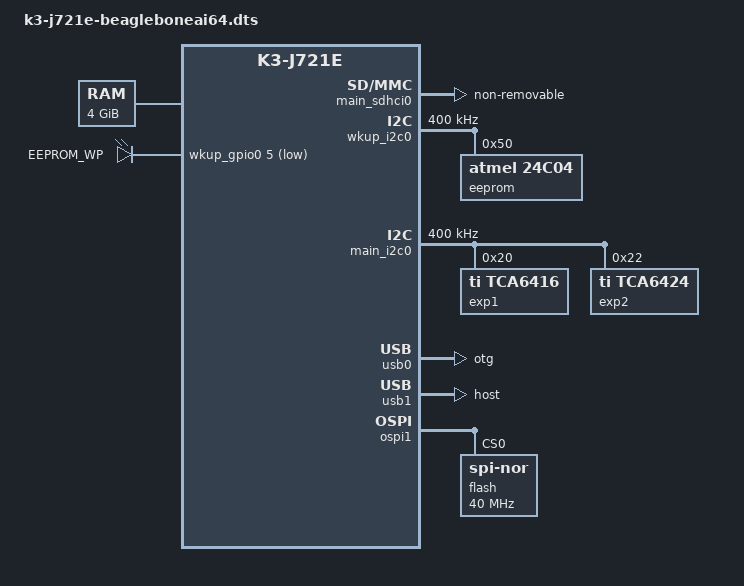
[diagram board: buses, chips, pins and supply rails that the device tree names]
// SPDX-License-Identifier: GPL-2.0
/*
 * Copyright (C) 2019 Texas Instruments Incorporated - https://www.ti.com/
 */

/dts-v1/;

#include "k3-j721e-som-p0.dtsi"
#include <dt-bindings/gpio/gpio.h>

/ {
	aliases {
		remoteproc0 = &sysctrler;
		remoteproc1 = &a72_0;
	};

	chosen {
		stdout-path = "serial2:115200n8";
		bootargs = "console=ttyS2,115200n8 earlycon=ns16550a,mmio32,0x02800000";
	};

	memory@80000000 {
		device_type = "memory";
		/* 4G RAM */
		reg = <0x00000000 0x80000000 0x00000000 0x80000000>,
		      <0x00000008 0x80000000 0x00000000 0x80000000>;
	};

	reserved_memory: reserved-memory {
		#address-cells = <2>;
		#size-cells = <2>;
		ranges;

		secure_ddr: optee@9e800000 {
			reg = <0x00 0x9e800000 0x00 0x01800000>;
			alignment = <0x1000>;
			no-map;
		};

		mcu_r5fss0_core0_dma_memory_region: r5f-dma-memory@a0000000 {
			compatible = "shared-dma-pool";
			reg = <0x00 0xa0000000 0x00 0x100000>;
			no-map;
		};

		mcu_r5fss0_core0_memory_region: r5f-memory@a0100000 {
			compatible = "shared-dma-pool";
			reg = <0x00 0xa0100000 0x00 0xf00000>;
			no-map;
		};

		mcu_r5fss0_core1_dma_memory_region: r5f-dma-memory@a1000000 {
			compatible = "shared-dma-pool";
			reg = <0x00 0xa1000000 0x00 0x100000>;
			no-map;
		};

		mcu_r5fss0_core1_memory_region: r5f-memory@a1100000 {
			compatible = "shared-dma-pool";
			reg = <0x00 0xa1100000 0x00 0xf00000>;
			no-map;
		};

		main_r5fss0_core0_dma_memory_region: r5f-dma-memory@a2000000 {
			compatible = "shared-dma-pool";
			reg = <0x00 0xa2000000 0x00 0x100000>;
			no-map;
		};

		main_r5fss0_core0_memory_region: r5f-memory@a2100000 {
			compatible = "shared-dma-pool";
			reg = <0x00 0xa2100000 0x00 0xf00000>;
			no-map;
		};

		main_r5fss0_core1_dma_memory_region: r5f-dma-memory@a3000000 {
			compatible = "shared-dma-pool";
			reg = <0x00 0xa3000000 0x00 0x100000>;
			no-map;
		};

		main_r5fss0_core1_memory_region: r5f-memory@a3100000 {
			compatible = "shared-dma-pool";
			reg = <0x00 0xa3100000 0x00 0xf00000>;
			no-map;
		};

		main_r5fss1_core0_dma_memory_region: r5f-dma-memory@a4000000 {
			compatible = "shared-dma-pool";
			reg = <0x00 0xa4000000 0x00 0x100000>;
			no-map;
		};

		main_r5fss1_core0_memory_region: r5f-memory@a4100000 {
			compatible = "shared-dma-pool";
			reg = <0x00 0xa4100000 0x00 0xf00000>;
			no-map;
		};

		main_r5fss1_core1_dma_memory_region: r5f-dma-memory@a5000000 {
			compatible = "shared-dma-pool";
			reg = <0x00 0xa5000000 0x00 0x100000>;
			no-map;
		};

		main_r5fss1_core1_memory_region: r5f-memory@a5100000 {
			compatible = "shared-dma-pool";
			reg = <0x00 0xa5100000 0x00 0xf00000>;
			no-map;
		};

		c66_1_dma_memory_region: c66-dma-memory@a6000000 {
			compatible = "shared-dma-pool";
			reg = <0x00 0xa6000000 0x00 0x100000>;
			no-map;
		};

		c66_0_memory_region: c66-memory@a6100000 {
			compatible = "shared-dma-pool";
			reg = <0x00 0xa6100000 0x00 0xf00000>;
			no-map;
		};

		c66_0_dma_memory_region: c66-dma-memory@a7000000 {
			compatible = "shared-dma-pool";
			reg = <0x00 0xa7000000 0x00 0x100000>;
			no-map;
		};

		c66_1_memory_region: c66-memory@a7100000 {
			compatible = "shared-dma-pool";
			reg = <0x00 0xa7100000 0x00 0xf00000>;
			no-map;
		};

		c71_0_dma_memory_region: c71-dma-memory@a8000000 {
			compatible = "shared-dma-pool";
			reg = <0x00 0xa8000000 0x00 0x100000>;
			no-map;
		};

		c71_0_memory_region: c71-memory@a8100000 {
			compatible = "shared-dma-pool";
			reg = <0x00 0xa8100000 0x00 0xf00000>;
			no-map;
		};

		rtos_ipc_memory_region: ipc-memories@aa000000 {
			reg = <0x00 0xaa000000 0x00 0x01c00000>;
			alignment = <0x1000>;
			no-map;
		};
	};

	a72_0: a72@0 {
		compatible = "ti,am654-rproc";
		reg = <0x0 0x00a90000 0x0 0x10>;
		power-domains = <&k3_pds 61 TI_SCI_PD_EXCLUSIVE>,
				<&k3_pds 202 TI_SCI_PD_EXCLUSIVE>;
		resets = <&k3_reset 202 0>;
		clocks = <&k3_clks 61 1>;
		assigned-clocks = <&k3_clks 202 2>, <&k3_clks 61 1>;
		assigned-clock-rates = <2000000000>, <200000000>;
		ti,sci = <&dmsc>;
		ti,sci-proc-id = <32>;
		ti,sci-host-id = <10>;
		u-boot,dm-spl;
	};

	leds {
		pinctrl-names = "default";
		pinctrl-0 = <&eeprom_wp_pins_default>;

		compatible = "gpio-leds";

		wp0 {
			label = "EEPROM_WP";
			gpios = <&wkup_gpio0 5 GPIO_ACTIVE_LOW>;
			default-state = "off";
			status = "okay";
		};
	};
};

&cbass_mcu_wakeup {
	mcu_secproxy: secproxy@28380000 {
		u-boot,dm-spl;
		compatible = "ti,am654-secure-proxy";
		reg = <0x0 0x2a380000 0x0 0x80000>,
		      <0x0 0x2a400000 0x0 0x80000>,
		      <0x0 0x2a480000 0x0 0x80000>;
		reg-names = "rt", "scfg", "target_data";
		#mbox-cells = <1>;
	};

	sysctrler: sysctrler {
		u-boot,dm-spl;
		compatible = "ti,am654-system-controller";
		mboxes= <&mcu_secproxy 4>, <&mcu_secproxy 5>;
		mbox-names = "tx", "rx";
	};

	dm_tifs: dm-tifs {
		compatible = "ti,j721e-dm-sci";
		ti,host-id = <3>;
		ti,secure-host;
		mbox-names = "rx", "tx";
		mboxes= <&mcu_secproxy 21>,
			<&mcu_secproxy 23>;
		u-boot,dm-spl;
	};
};

&cbass_main {
	main_esm: esm@700000 {
		compatible = "ti,j721e-esm";
		reg = <0x0 0x700000 0x0 0x1000>;
		ti,esm-pins = <344>, <345>;
		u-boot,dm-spl;
	};
};

&dmsc {
	mboxes= <&mcu_secproxy 8>, <&mcu_secproxy 6>, <&mcu_secproxy 5>;
	mbox-names = "tx", "rx", "notify";
	ti,host-id = <4>;
	ti,secure-host;
};

&main_pmx0 {
	main_mmc1_pins_default: main_mmc1_pins_default {
		pinctrl-single,pins = <
			J721E_IOPAD(0x254, PIN_INPUT, 0) /* (R29) MMC1_CMD */
			J721E_IOPAD(0x250, PIN_INPUT, 0) /* (P25) MMC1_CLK */
			J721E_IOPAD(0x2ac, PIN_INPUT, 0) /* (P25) MMC1_CLKLB */
			J721E_IOPAD(0x24c, PIN_INPUT, 0) /* (R24) MMC1_DAT0 */
			J721E_IOPAD(0x248, PIN_INPUT, 0) /* (P24) MMC1_DAT1 */
			J721E_IOPAD(0x244, PIN_INPUT, 0) /* (R25) MMC1_DAT2 */
			J721E_IOPAD(0x240, PIN_INPUT, 0) /* (R26) MMC1_DAT3 */
			J721E_IOPAD(0x258, PIN_INPUT, 0) /* (P23) MMC1_SDCD */
			J721E_IOPAD(0x25c, PIN_INPUT, 0) /* (R28) MMC1_SDWP */
		>;
	};
};

&main_pmx0 {
	main_usbss0_pins_default: main_usbss0_pins_default {
		pinctrl-single,pins = <
			J721E_IOPAD(0x290, PIN_OUTPUT, 0) /* (U6) USB0_DRVVBUS */
			J721E_IOPAD(0x210, PIN_INPUT, 7) /* (W3) MCAN1_RX.GPIO1_3 */
		>;
	};

	main_usbss1_pins_default: main_usbss1_pins_default {
		pinctrl-single,pins = <
			J721E_IOPAD(0x214, PIN_OUTPUT, 4) /* (V4) MCAN1_TX.USB1_DRVVBUS */
		>;
	};

	main_i2c0_pins_default: main-i2c0-pins-default {
		pinctrl-single,pins = <
			J721E_IOPAD(0x220, PIN_INPUT_PULLUP, 0) /* (AC5) I2C0_SCL */
			J721E_IOPAD(0x224, PIN_INPUT_PULLUP, 0) /* (AA5) I2C0_SDA */
		>;
	};
};

&wkup_pmx0 {
	wkup_i2c0_pins_default: wkup-i2c0-pins-default {
		pinctrl-single,pins = <
			J721E_WKUP_IOPAD(0xf8, PIN_INPUT_PULLUP, 0) /* (J25) WKUP_I2C0_SCL */
			J721E_WKUP_IOPAD(0xfc, PIN_INPUT_PULLUP, 0) /* (H24) WKUP_I2C0_SDA */
		>;
	};

	eeprom_wp_pins_default: eeprom-wp-pins-default {
		pinctrl-single,pins = <
			J721E_WKUP_IOPAD(0xc4, PIN_OUTPUT_PULLUP, 7) /* (G24) WKUP_GPIO0_5 */
		>;
	};

	mcu_fss0_ospi1_pins_default: mcu-fss0-ospi1-pins-default {
		pinctrl-single,pins = <
			J721E_WKUP_IOPAD(0x34, PIN_OUTPUT, 0) /* (F22) MCU_OSPI1_CLK */
			J721E_WKUP_IOPAD(0x50, PIN_OUTPUT, 0) /* (C22) MCU_OSPI1_CSn0 */
			J721E_WKUP_IOPAD(0x40, PIN_INPUT, 0) /* (D22) MCU_OSPI1_D0 */
			J721E_WKUP_IOPAD(0x44, PIN_INPUT, 0) /* (G22) MCU_OSPI1_D1 */
			J721E_WKUP_IOPAD(0x48, PIN_INPUT, 0) /* (D23) MCU_OSPI1_D2 */
			J721E_WKUP_IOPAD(0x4c, PIN_INPUT, 0) /* (C23) MCU_OSPI1_D3 */
			J721E_WKUP_IOPAD(0x3c, PIN_INPUT, 0) /* (B23) MCU_OSPI1_DQS */
			J721E_WKUP_IOPAD(0x38, PIN_INPUT, 0) /* (A23) MCU_OSPI1_LBCLKO */
		>;
	};
};

&wkup_uart0 {
	/* Wakeup UART is used by System firmware */
	status = "reserved";
};

&main_uart0 {
	power-domains = <&k3_pds 146 TI_SCI_PD_SHARED>;
};

&main_uart3 {
	/* UART not brought out */
	status = "disabled";
};

&main_uart5 {
	/* UART not brought out */
	status = "disabled";
};

&main_uart6 {
	/* UART not brought out */
	status = "disabled";
};

&main_uart7 {
	/* UART not brought out */
	status = "disabled";
};

&main_uart8 {
	/* UART not brought out */
	status = "disabled";
};

&main_uart9 {
	/* UART not brought out */
	status = "disabled";
};

&main_sdhci0 {
	/* eMMC */
	non-removable;
	ti,driver-strength-ohm = <50>;
};

&main_sdhci1 {
	/* SD card */
	pinctrl-names = "default";
	pinctrl-0 = <&main_mmc1_pins_default>;
	ti,driver-strength-ohm = <50>;
};

&wkup_i2c0 {
	pinctrl-names = "default";
	pinctrl-0 = <&wkup_i2c0_pins_default>;
	clock-frequency = <400000>;

	eeprom@50 {
		compatible = "atmel,24c04";
		reg = <0x50>;
	};
};

&main_i2c0 {
	pinctrl-names = "default";
	pinctrl-0 = <&main_i2c0_pins_default>;
	clock-frequency = <400000>;

	exp1: gpio@20 {
		compatible = "ti,tca6416";
		reg = <0x20>;
		gpio-controller;
		#gpio-cells = <2>;
	};

	exp2: gpio@22 {
		compatible = "ti,tca6424";
		reg = <0x22>;
		gpio-controller;
		#gpio-cells = <2>;
	};
};

&usbss0 {
	pinctrl-names = "default";
	pinctrl-0 = <&main_usbss0_pins_default>;
	ti,vbus-divider;
};

&usb0 {
	dr_mode = "otg";
	maximum-speed = "super-speed";
};

&usbss1 {
	pinctrl-names = "default";
	pinctrl-0 = <&main_usbss1_pins_default>;
	ti,usb2-only;
};

&usb1 {
	dr_mode = "host";
	maximum-speed = "high-speed";
};

&ospi1 {
	pinctrl-names = "default";
	pinctrl-0 = <&mcu_fss0_ospi1_pins_default>;

	flash@0{
		compatible = "jedec,spi-nor";
		reg = <0x0>;
		spi-tx-bus-width = <1>;
		spi-rx-bus-width = <4>;
		spi-max-frequency = <40000000>;
		cdns,tshsl-ns = <60>;
		cdns,tsd2d-ns = <60>;
		cdns,tchsh-ns = <60>;
		cdns,tslch-ns = <60>;
		cdns,read-delay = <2>;
		#address-cells = <1>;
		#size-cells = <1>;
	};
};

&mcu_ringacc {
	ti,sci = <&dm_tifs>;
};

&mcu_udmap {
	ti,sci = <&dm_tifs>;
};

&mailbox0_cluster0 {
	interrupts = <436>;

	mbox_mcu_r5fss0_core0: mbox-mcu-r5fss0-core0 {
		ti,mbox-rx = <0 0 0>;
		ti,mbox-tx = <1 0 0>;
	};

	mbox_mcu_r5fss0_core1: mbox-mcu-r5fss0-core1 {
		ti,mbox-rx = <2 0 0>;
		ti,mbox-tx = <3 0 0>;
	};
};

&mailbox0_cluster1 {
	interrupts = <432>;

	mbox_main_r5fss0_core0: mbox-main-r5fss0-core0 {
		ti,mbox-rx = <0 0 0>;
		ti,mbox-tx = <1 0 0>;
	};

	mbox_main_r5fss0_core1: mbox-main-r5fss0-core1 {
		ti,mbox-rx = <2 0 0>;
		ti,mbox-tx = <3 0 0>;
	};
};

&mailbox0_cluster2 {
	interrupts = <428>;

	mbox_main_r5fss1_core0: mbox-main-r5fss1-core0 {
		ti,mbox-rx = <0 0 0>;
		ti,mbox-tx = <1 0 0>;
	};

	mbox_main_r5fss1_core1: mbox-main-r5fss1-core1 {
		ti,mbox-rx = <2 0 0>;
		ti,mbox-tx = <3 0 0>;
	};
};

&mailbox0_cluster3 {
	interrupts = <424>;

	mbox_c66_0: mbox-c66-0 {
		ti,mbox-rx = <0 0 0>;
		ti,mbox-tx = <1 0 0>;
	};

	mbox_c66_1: mbox-c66-1 {
		ti,mbox-rx = <2 0 0>;
		ti,mbox-tx = <3 0 0>;
	};
};

&mailbox0_cluster4 {
	interrupts = <420>;

	mbox_c71_0: mbox-c71-0 {
		ti,mbox-rx = <0 0 0>;
		ti,mbox-tx = <1 0 0>;
	};
};

&mailbox0_cluster5 {
	status = "disabled";
};

&mailbox0_cluster6 {
	status = "disabled";
};

&mailbox0_cluster7 {
	status = "disabled";
};

&mailbox0_cluster8 {
	status = "disabled";
};

&mailbox0_cluster9 {
	status = "disabled";
};

&mailbox0_cluster10 {
	status = "disabled";
};

&mailbox0_cluster11 {
	status = "disabled";
};

&mcu_r5fss0_core0 {
	mboxes = <&mailbox0_cluster0 &mbox_mcu_r5fss0_core0>;
	memory-region = <&mcu_r5fss0_core0_dma_memory_region>,
			<&mcu_r5fss0_core0_memory_region>;
};

&mcu_r5fss0_core1 {
	mboxes = <&mailbox0_cluster0 &mbox_mcu_r5fss0_core1>;
	memory-region = <&mcu_r5fss0_core1_dma_memory_region>,
			<&mcu_r5fss0_core1_memory_region>;
};

&main_r5fss0_core0 {
	mboxes = <&mailbox0_cluster1 &mbox_main_r5fss0_core0>;
	memory-region = <&main_r5fss0_core0_dma_memory_region>,
			<&main_r5fss0_core0_memory_region>;
};

&main_r5fss0_core1 {
	mboxes = <&mailbox0_cluster1 &mbox_main_r5fss0_core1>;
	memory-region = <&main_r5fss0_core1_dma_memory_region>,
			<&main_r5fss0_core1_memory_region>;
};

&main_r5fss1_core0 {
	mboxes = <&mailbox0_cluster2 &mbox_main_r5fss1_core0>;
	memory-region = <&main_r5fss1_core0_dma_memory_region>,
			<&main_r5fss1_core0_memory_region>;
};

&main_r5fss1_core1 {
	mboxes = <&mailbox0_cluster2 &mbox_main_r5fss1_core1>;
	memory-region = <&main_r5fss1_core1_dma_memory_region>,
			<&main_r5fss1_core1_memory_region>;
};

&c66_0 {
	mboxes = <&mailbox0_cluster3 &mbox_c66_0>;
	memory-region = <&c66_0_dma_memory_region>,
			<&c66_0_memory_region>;
};

&c66_1 {
	mboxes = <&mailbox0_cluster3 &mbox_c66_1>;
	memory-region = <&c66_1_dma_memory_region>,
			<&c66_1_memory_region>;
};

&c71_0 {
	mboxes = <&mailbox0_cluster4 &mbox_c71_0>;
	memory-region = <&c71_0_dma_memory_region>,
			<&c71_0_memory_region>;
};

/* EEPROM might be read before SYSFW is available */
&wkup_i2c0 {
	/delete-property/ power-domains;
};
